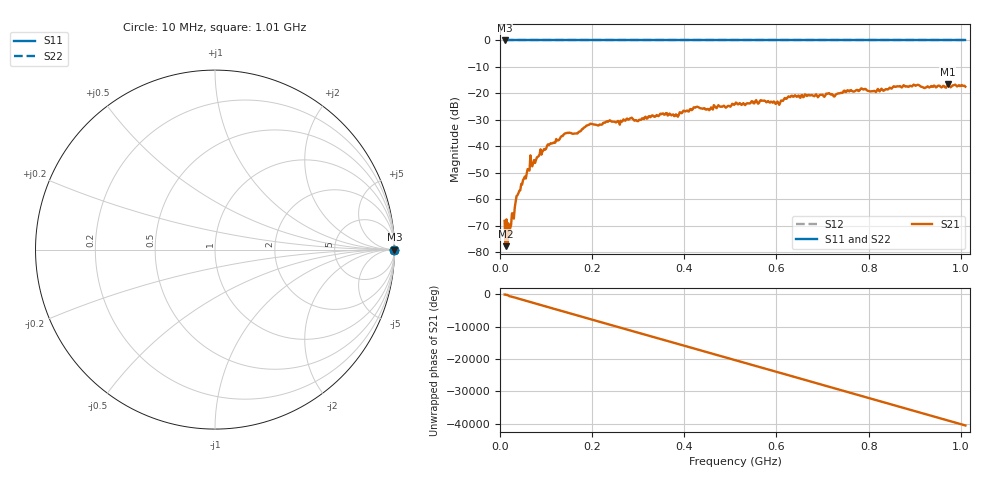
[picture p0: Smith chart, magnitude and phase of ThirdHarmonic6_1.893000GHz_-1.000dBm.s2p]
! 8/16/2025 10:51:33 PM
! C:\ANRITSUVNA\TEMP\TEMP.S2P
! CHANNEL.1
! TR.MEASUREMENT
! RAW.DATA
! RF.CORRECTION.OFF
! AVERAGING.OFF
! IF.BANDWIDTH: 5KHZ
! SWEEPTYPE:  FREQ.SWEEP(Linear)
! Reference Plane Port Info
! PORT:  PORT1  PORT2
! DISTANCE:  0  m  0  m
! TIME:  0  s  0  s
! PHASE.OFFSET:  0  deg.  0  deg.
! LOSS:  0  dB  0  dB
! REF.LOSS:  0  dB  0  dB
! REF.FREQ:  0  Hz  0  Hz
! Power Info
! POWER:  -20  dBm  -20  dBm
! EFF.POWER:  -20  dBm  -20  dBm
! SOURCE.ATTEN:  0  dB  0  dB
! TEST.ATTEN:  0  dB  0  dB
# GHZ S RI R 50.0
! FREQ.GHZ  S11RE  S11IM  S21RE  S21IM  S12RE  S12IM  S22RE  S22IM
!; PortSelection: Port_12
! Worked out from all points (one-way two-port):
!   501 points, 10 MHz to 1.01 GHz, reference 50 ohm
!   highest |S21| = -16.40 dB at 972 MHz (marker M1); lowest = -77.7 dB at 12 MHz (marker M2)
!   lowest |S11| = 0.0 dB at 10 MHz (marker M3)
!   |S11| at or under -10 dB: nowhere
!   |S22| runs from 0.0 to 0.0 dB; largest |S21 - S12| = 1.1
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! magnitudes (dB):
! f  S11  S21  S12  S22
! 10 MHz  0.0  -68.1  0.0  0.0
! 12 MHz  0.0  -77.7  0.0  0.0
! 16 MHz  0.0  -77.6  0.0  0.0
! 20 MHz  0.0  -73.6  0.0  0.0
! 38 MHz  0.0  -58.4  0.0  0.0
! 70 MHz  0.0  -47.5  0.0  0.0
! 106 MHz  0.0  -39.5  0.0  0.0
! 142 MHz  0.0  -35.1  0.0  0.0
! 178 MHz  0.0  -33.5  0.0  0.0
! 196 MHz  0.0  -31.4  0.0  0.0
! 344 MHz  0.0  -28.6  0.0  0.0
! 382 MHz  0.0  -27.9  0.0  0.0
! 424 MHz  0.0  -25.4  0.0  0.0
! 452 MHz  0.0  -25.9  0.0  0.0
! 510 MHz  0.0  -24.0  0.0  0.0
! 570 MHz  0.0  -22.7  0.0  0.0
! 602 MHz  0.0  -23.1  0.0  0.0
! 630 MHz  0.0  -21.4  0.0  0.0
! 678 MHz  0.0  -20.7  0.0  0.0
! 844 MHz  0.0  -18.1  0.0  0.0
! 972 MHz  0.0  -16.4  0.0  0.0
! 1.01 GHz  0.0  -17.5  0.0  0.0
